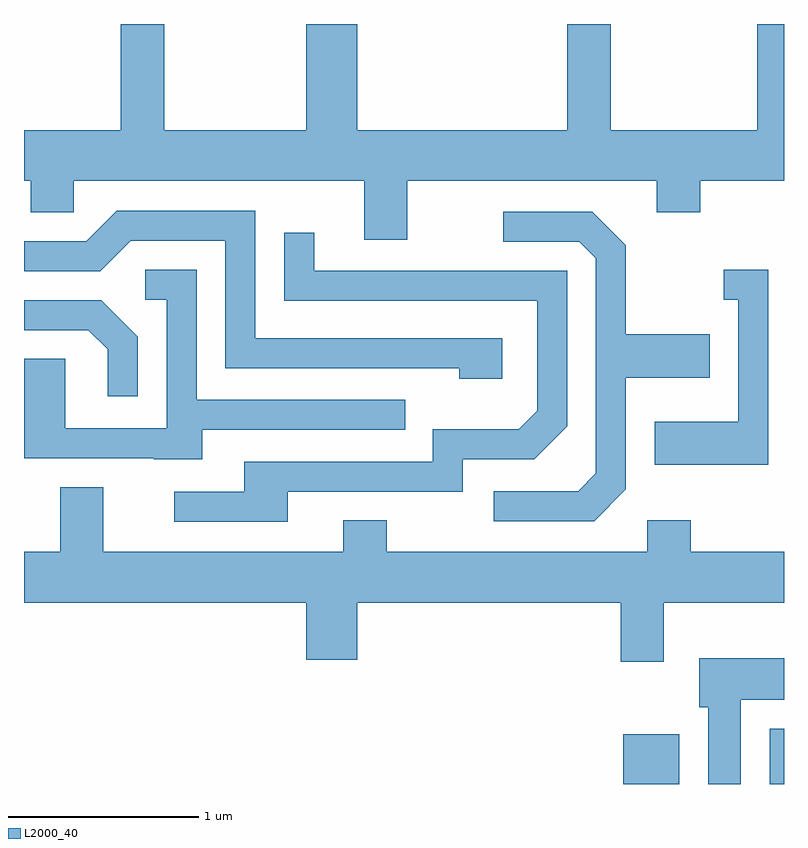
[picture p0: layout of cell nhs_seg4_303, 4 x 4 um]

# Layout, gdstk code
import gdstk
lib = gdstk.Library(unit=1e-6, precision=1e-09)
def R(c, l, rs):  # rectangles x0, y0, x1, y1
    for r in rs: c.add(gdstk.rectangle(r[:2], r[2:], *l))
def P(c, l, *ps):  # polygons
    for p in ps: c.add(gdstk.Polygon(p, *l))
L2000_40 = (2000, 40)

nhs_seg4_303 = lib.new_cell('nhs_seg4_303')
R(nhs_seg4_303, L2000_40, [(196.766,1315.982,197.059,1316.244), (197.536,1315.982,197.611,1316.274)])
P(nhs_seg4_303, L2000_40, [(195.629,1319.156),(196.941,1319.156),(196.941,1318.991),(197.169,1318.991),(197.169,1319.156),(197.611,1319.156),(197.611,1319.982),(197.471,1319.982),(197.471,1319.424),(196.699,1319.424),(196.699,1319.982),(196.471,1319.982),(196.471,1319.424),(195.364,1319.424),(195.364,1319.982),(195.096,1319.982),(195.096,1319.424),(194.349,1319.424),(194.349,1319.982),(194.121,1319.982),(194.121,1319.424),(193.611,1319.424),(193.611,1319.156),(193.646,1319.156),(193.646,1318.991),(193.874,1318.991),(193.874,1319.156),(195.401,1319.156),(195.401,1318.846),(195.629,1318.846)],
  [(196.129,1318.329),(194.829,1318.329),(194.829,1318.999),(194.099,1318.999),(193.939,1318.839),(193.611,1318.839),(193.611,1318.681),(194.012,1318.681),(194.172,1318.841),(194.671,1318.841),(194.671,1318.171),(195.901,1318.171),(195.901,1318.116),(196.129,1318.116)],
  [(196.779,1317.534),(196.779,1318.121),(197.219,1318.121),(197.219,1318.349),(196.779,1318.349),(196.779,1318.817),(196.602,1318.994),(196.133,1318.994),(196.133,1318.836),(196.534,1318.836),(196.621,1318.749),(196.621,1317.617),(196.529,1317.524),(196.083,1317.524),(196.083,1317.366),(196.612,1317.366)],
  [(194.999,1317.521),(195.919,1317.521),(195.919,1317.691),(196.297,1317.691),(196.469,1317.864),(196.469,1318.684),(195.139,1318.684),(195.139,1318.883),(194.981,1318.883),(194.981,1318.526),(196.311,1318.526),(196.311,1317.947),(196.214,1317.849),(195.761,1317.849),(195.761,1317.679),(194.771,1317.679),(194.771,1317.519),(194.403,1317.519),(194.403,1317.361),(194.999,1317.361)],
  [(197.529,1318.689),(197.293,1318.689),(197.293,1318.531),(197.371,1318.531),(197.371,1317.889),(196.931,1317.889),(196.931,1317.661),(197.529,1317.661)],
  [(194.549,1317.846),(195.618,1317.846),(195.618,1318.004),(194.519,1318.004),(194.519,1318.689),(194.248,1318.689),(194.248,1318.531),(194.361,1318.531),(194.361,1317.854),(193.829,1317.854),(193.829,1318.219),(193.611,1318.219),(193.611,1317.696),(194.295,1317.696),(194.295,1317.691),(194.549,1317.691)],
  [(194.209,1318.337),(194.017,1318.529),(193.611,1318.529),(193.611,1318.371),(193.949,1318.371),(194.051,1318.269),(194.051,1318.023),(194.209,1318.023)],
  [(196.979,1316.936),(197.611,1316.936),(197.611,1317.204),(197.119,1317.204),(197.119,1317.369),(196.891,1317.369),(196.891,1317.204),(195.519,1317.204),(195.519,1317.369),(195.291,1317.369),(195.291,1317.204),(194.029,1317.204),(194.029,1317.544),(193.801,1317.544),(193.801,1317.204),(193.611,1317.204),(193.611,1316.936),(195.096,1316.936),(195.096,1316.636),(195.364,1316.636),(195.364,1316.936),(196.751,1316.936),(196.751,1316.626),(196.979,1316.626)],
  [(197.384,1316.426),(197.611,1316.426),(197.611,1316.644),(197.166,1316.644),(197.166,1316.386),(197.211,1316.386),(197.211,1315.982),(197.384,1315.982)])

lib.write_gds('nhs_seg4_303.gds')
